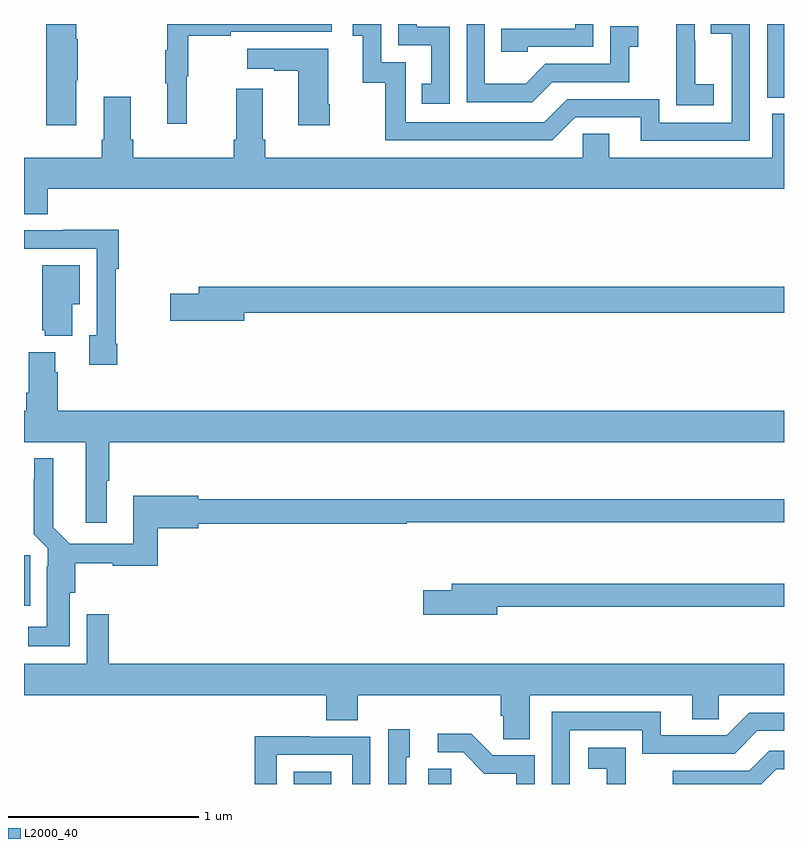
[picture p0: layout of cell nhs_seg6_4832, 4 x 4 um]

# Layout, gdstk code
import gdstk
lib = gdstk.Library(unit=1e-6, precision=1e-09)
def R(c, l, rs):  # rectangles x0, y0, x1, y1
    for r in rs: c.add(gdstk.rectangle(r[:2], r[2:], *l))
def P(c, l, *ps):  # polygons
    for p in ps: c.add(gdstk.Polygon(p, *l))
L2000_40 = (2000, 40)

nhs_seg6_4832 = lib.new_cell('nhs_seg6_4832')
R(nhs_seg6_4832, L2000_40, [(398.42,981.5,398.617,981.565), (399.128,981.5,399.249,981.581), (397,982.437,397.033,982.705), (400.911,985.113,401,985.5)])
P(nhs_seg6_4832, L2000_40, [(400.821,985.5),(400.615,985.5),(400.615,985.45),(400.725,985.45),(400.725,984.981),(400.344,984.981),(400.344,985.104),(399.858,985.104),(399.738,984.984),(399.009,984.984),(399.009,985.299),(398.88,985.299),(398.88,985.5),(398.73,985.5),(398.73,985.437),(398.783,985.437),(398.783,985.191),(398.901,985.191),(398.901,984.888),(399.78,984.888),(399.9,985.008),(400.247,985.008),(400.247,984.885),(400.821,984.885)],
  [(399.24,985.485),(399.066,985.485),(399.066,985.5),(398.97,985.5),(398.97,985.389),(399.143,985.389),(399.143,985.185),(399.094,985.185),(399.094,985.08),(399.24,985.08)],
  [(397.276,985.204),(397.284,985.204),(397.284,985.421),(397.276,985.421),(397.276,985.5),(397.118,985.5),(397.118,984.966),(397.276,984.966)],
  [(397.856,985.224),(397.864,985.224),(397.864,985.438),(398.087,985.438),(398.087,985.458),(398.62,985.458),(398.62,985.5),(397.754,985.5),(397.754,985.361),(397.743,985.361),(397.743,985.187),(397.754,985.187),(397.754,984.975),(397.856,984.975)],
  [(399.781,985.194),(400.185,985.194),(400.185,985.379),(400.234,985.379),(400.234,985.489),(400.086,985.489),(400.086,985.29),(399.744,985.29),(399.64,985.186),(399.426,985.186),(399.426,985.5),(399.33,985.5),(399.33,985.089),(399.676,985.089)],
  [(399.651,985.38),(399.996,985.38),(399.996,985.5),(399.9,985.5),(399.9,985.476),(399.511,985.476),(399.511,985.353),(399.651,985.353)],
  [(400.63,985.183),(400.532,985.183),(400.532,985.412),(400.53,985.412),(400.53,985.5),(400.433,985.5),(400.433,985.279),(400.432,985.279),(400.432,985.073),(400.63,985.073)],
  [(398.61,985.078),(398.602,985.078),(398.602,985.369),(398.175,985.369),(398.175,985.265),(398.318,985.265),(398.318,985.255),(398.444,985.255),(398.444,984.966),(398.61,984.966)],
  [(397.124,984.632),(401,984.632),(401,985.028),(400.937,985.028),(400.937,984.796),(400.081,984.796),(400.081,984.923),(399.942,984.923),(399.942,984.796),(398.27,984.796),(398.27,984.892),(398.257,984.892),(398.257,985.159),(398.117,985.159),(398.117,984.892),(398.105,984.892),(398.105,984.796),(397.574,984.796),(397.574,984.892),(397.561,984.892),(397.561,985.117),(397.421,985.117),(397.421,984.892),(397.409,984.892),(397.409,984.796),(397,984.796),(397,984.499),(397.124,984.499)],
  [(397.492,983.818),(397.484,983.818),(397.484,984.211),(397.499,984.211),(397.499,984.416),(397.207,984.416),(397.207,984.414),(397,984.414),(397,984.318),(397.383,984.318),(397.383,983.862),(397.343,983.862),(397.343,983.706),(397.492,983.706)],
  [(397.255,984.026),(397.294,984.026),(397.294,984.229),(397.097,984.229),(397.097,983.889),(397.109,983.889),(397.109,983.858),(397.255,983.858)],
  [(398.158,983.98),(401,983.98),(401,984.116),(397.919,984.116),(397.919,984.08),(397.77,984.08),(397.77,983.938),(398.158,983.938)],
  [(397.435,983.096),(397.448,983.096),(397.448,983.3),(401,983.3),(401,983.464),(397.178,983.464),(397.178,983.666),(397.165,983.666),(397.165,983.773),(397.025,983.773),(397.025,983.56),(397.013,983.56),(397.013,983.464),(397,983.464),(397,983.3),(397.325,983.3),(397.325,982.875),(397.435,982.875)],
  [(397.24,982.506),(397.271,982.506),(397.271,982.663),(397.467,982.663),(397.467,982.648),(397.703,982.648),(397.703,982.847),(397.918,982.847),(397.918,982.87),(399.014,982.87),(399.014,982.878),(401,982.878),(401,982.999),(397.918,982.999),(397.918,983.017),(397.574,983.017),(397.574,982.764),(397.24,982.764),(397.153,982.852),(397.153,983.215),(397.055,983.215),(397.055,983.105),(397.051,983.105),(397.051,982.814),(397.125,982.74),(397.125,982.646),(397.121,982.646),(397.121,982.327),(397.023,982.327),(397.023,982.226),(397.24,982.226)],
  [(399.49,982.434),(401,982.434),(401,982.555),(399.251,982.555),(399.251,982.521),(399.102,982.521),(399.102,982.391),(399.49,982.391)],
  [(399.661,981.968),(400.517,981.968),(400.517,981.841),(400.656,981.841),(400.656,981.968),(401,981.968),(401,982.132),(397.445,982.132),(397.445,982.393),(397.329,982.393),(397.329,982.132),(397,982.132),(397,981.968),(398.591,981.968),(398.591,981.835),(398.756,981.835),(398.756,981.968),(399.509,981.968),(399.509,981.859),(399.522,981.859),(399.522,981.736),(399.661,981.736)],
  [(399.873,981.783),(400.254,981.783),(400.254,981.66),(400.74,981.66),(400.86,981.78),(401,981.78),(401,981.876),(400.818,981.876),(400.698,981.756),(400.351,981.756),(400.351,981.879),(399.777,981.879),(399.777,981.5),(399.873,981.5)],
  [(399.012,981.642),(399.031,981.642),(399.031,981.787),(398.916,981.787),(398.916,981.5),(399.012,981.5)],
  [(399.687,981.651),(399.468,981.651),(399.355,981.764),(399.177,981.764),(399.177,981.666),(399.311,981.666),(399.422,981.555),(399.591,981.555),(399.591,981.5),(399.687,981.5)],
  [(398.331,981.654),(398.727,981.654),(398.727,981.5),(398.823,981.5),(398.823,981.75),(398.507,981.75),(398.507,981.752),(398.215,981.752),(398.215,981.5),(398.331,981.5)],
  [(400.167,981.691),(399.969,981.691),(399.969,981.581),(400.067,981.581),(400.067,981.5),(400.167,981.5)],
  [(400.958,981.578),(401,981.578),(401,981.675),(400.922,981.675),(400.817,981.57),(400.414,981.57),(400.414,981.5),(400.88,981.5)])

lib.write_gds('nhs_seg6_4832.gds')
